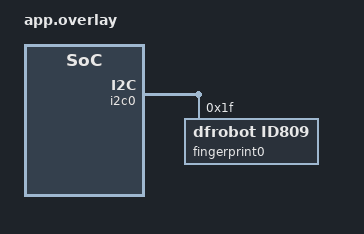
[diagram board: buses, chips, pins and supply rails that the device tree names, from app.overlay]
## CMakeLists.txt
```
# SPDX-License-Identifier: Apache-2.0

cmake_minimum_required(VERSION 3.20.0)

find_package(Zephyr REQUIRED HINTS $ENV{ZEPHYR_BASE})
project(biometrics_id809)

target_sources(app PRIVATE src/main.c)
```

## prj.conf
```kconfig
CONFIG_BIOMETRICS=y
CONFIG_BIOMETRICS_ID809=y
CONFIG_EMUL=y
```

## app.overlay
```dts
&i2c0 {
	fingerprint0: fingerprint@1f {
		compatible = "dfrobot,id809";
		reg = <0x1f>;
		status = "okay";
		max-templates = <80>;
		template-size = <1008>;
	};
};
```

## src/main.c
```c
/*
 * SPDX-License-Identifier: Apache-2.0
 */

int main(void)
{
	return 0;
}
```
